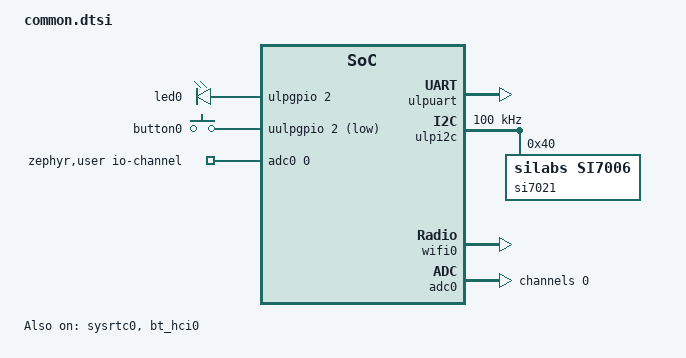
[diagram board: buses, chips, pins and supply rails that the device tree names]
/*
 * Copyright (c) 2023 Antmicro
 * Copyright (c) 2024-2026 Silicon Laboratories Inc.
 * SPDX-License-Identifier: Apache-2.0
 */

/dts-v1/;
#include <silabs/siwg917m111mgtba.dtsi>
#include <zephyr/dt-bindings/pinctrl/silabs/siwx91x-pinctrl.h>
#include <zephyr/dt-bindings/adc/silabs-siwx91x-adc.h>
#include <zephyr/dt-bindings/input/input-event-codes.h>
#include <zephyr/dt-bindings/gpio/gpio.h>
#include <freq.h>

/ {
	chosen {
		zephyr,bt-hci = &bt_hci0;
		zephyr,code-partition = &code_partition;
		zephyr,console = &ulpuart;
		zephyr,shell-uart = &ulpuart;
		zephyr,sram = &sram0;
		zephyr,uart-pipe = &ulpuart;
	};

	aliases {
		dht0 = &si7021;
		led0 = &led0;
		sw0 = &button0;
		adc0 = &adc0;
	};

	leds {
		compatible = "gpio-leds";

		led0: led_0 {
			gpios = <&ulpgpio 2 GPIO_ACTIVE_HIGH>;
		};
	};

	buttons {
		compatible = "gpio-keys";

		button0: button_0 {
			gpios = <&uulpgpio 2 GPIO_ACTIVE_LOW>;
			zephyr,code = <INPUT_KEY_0>;
		};
	};

	zephyr,user {
		io-channels = <&adc0 0>;
	};
};

&pinctrl0 {
	ulpi2c_default: ulpi2c_default {
		group {
			pinmux = <ULPI2C_SDA_ULP6>, <ULPI2C_SCL_ULP7>;
		};
	};

	ulpuart_default: ulpuart_default {
		out {
			pinmux = <ULPUART_TX_ULP11>;
		};

		in {
			pinmux = <ULPUART_RX_ULP9>;
		};
	};

	adc0_default: adc0_default {
		group {
			pinmux = <ADC_TOPGPIO_HP28>;
		};
	};
};

&cpu0 {
	clock-frequency = <180000000>;
};

&ulpuart {
	pinctrl-0 = <&ulpuart_default>;
	pinctrl-names = "default";
	status = "okay";
};

&ulpi2c {
	clock-frequency = <DT_FREQ_K(100)>;
	pinctrl-0 = <&ulpi2c_default>;
	pinctrl-names = "default";
	status = "okay";

	si7021: si7021@40 {
		compatible = "silabs,si7006";
		reg = <0x40>;
	};
};

&flash0 {
	partitions {
		compatible = "fixed-partitions";
		#address-cells = <1>;
		#size-cells = <1>;

		code_partition: partition@202000 {
			reg = <0x00202000 DT_SIZE_K(2008)>;
			label = "code_partition";
		};

		storage_partition: partition@3f8000 {
			reg = <0x003f8000 DT_SIZE_K(32)>;
			label = "storage";
		};
	};
};

&sysrtc0 {
	status = "okay";
};

&bt_hci0 {
	status = "okay";
};

&wifi0 {
	status = "okay";
};

&adc0 {
	pinctrl-0 = <&adc0_default>;
	pinctrl-names = "default";
	silabs,adc-ref-voltage = <3300>;

	channel@0 {
		reg = <0>;
		zephyr,gain = "ADC_GAIN_1";
		zephyr,reference = "ADC_REF_INTERNAL";
		zephyr,acquisition-time = <0>;
		zephyr,resolution = <12>;
		zephyr,input-positive = <SIWX91X_ADC_INPUT_HP28>;
	};

	status = "okay";
};
